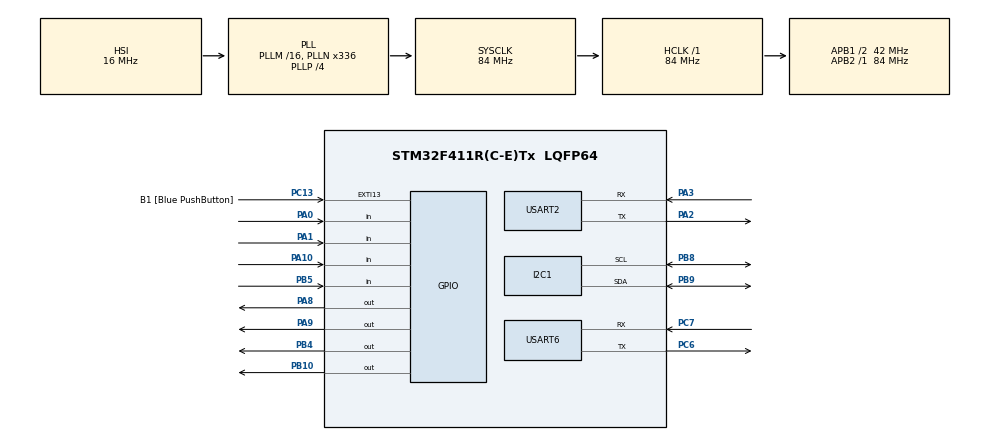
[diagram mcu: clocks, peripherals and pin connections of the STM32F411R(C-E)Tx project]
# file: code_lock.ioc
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Mcu.Family=STM32F4
Mcu.Name=STM32F411R(C-E)Tx
Mcu.Package=LQFP64
NVIC.PriorityGroup=NVIC_PRIORITYGROUP_0
NVIC.TIM2_IRQn=true\:0\:0\:false\:false\:true\:true\:true\:true
NVIC.TIM3_IRQn=true\:0\:0\:false\:false\:true\:true\:true\:true
PA0-WKUP.GPIO_PuPd=GPIO_PULLDOWN
PA0-WKUP.Signal=GPIO_Input
PA1.GPIO_PuPd=GPIO_PULLDOWN
PA1.Signal=GPIO_Input
PA10.GPIO_PuPd=GPIO_PULLDOWN
PA10.Signal=GPIO_Input
PA13.GPIO_Label=TMS
PA13.Mode=Serial_Wire
PA13.Signal=SYS_JTMS-SWDIO
PA14.GPIO_Label=TCK
PA14.Mode=Serial_Wire
PA14.Signal=SYS_JTCK-SWCLK
PA2.Mode=Asynchronous
PA2.Signal=USART2_TX
PA3.Mode=Asynchronous
PA3.Signal=USART2_RX
PA8.Signal=GPIO_Output
PA9.Signal=GPIO_Output
PB10.Signal=GPIO_Output
PB3.GPIO_Label=SWO
PB3.Signal=SYS_JTDO-SWO
PB4.Signal=GPIO_Output
PB5.GPIO_PuPd=GPIO_PULLDOWN
PB5.Signal=GPIO_Input
PB8.Mode=I2C
PB8.Signal=I2C1_SCL
PB9.Mode=I2C
PB9.Signal=I2C1_SDA
PC13-ANTI_TAMP.GPIO_Label=B1 [Blue PushButton]
PC13-ANTI_TAMP.GPIO_ModeDefaultEXTI=GPIO_MODE_IT_FALLING
PC13-ANTI_TAMP.Signal=GPXTI13
PC14-OSC32_IN.Mode=LSE-External-Oscillator
PC14-OSC32_IN.Signal=RCC_OSC32_IN
PC15-OSC32_OUT.Mode=LSE-External-Oscillator
PC15-OSC32_OUT.Signal=RCC_OSC32_OUT
PC6.Mode=Asynchronous
PC6.Signal=USART6_TX
PC7.Mode=Asynchronous
PC7.Signal=USART6_RX
PH0\ -\ OSC_IN.Mode=HSE-External-Clock-Source
PH0\ -\ OSC_IN.Signal=RCC_OSC_IN
PH1\ -\ OSC_OUT.Mode=HSE-External-Clock-Source
PH1\ -\ OSC_OUT.Signal=RCC_OSC_OUT
ProjectManager.HeapSize=0x200
ProjectManager.StackSize=0x400
ProjectManager.TargetToolchain=STM32CubeIDE
RCC.48MHZClocksFreq_Value=84000000
RCC.AHBFreq_Value=84000000
RCC.APB1CLKDivider=RCC_HCLK_DIV2
RCC.APB1Freq_Value=42000000
RCC.APB1TimFreq_Value=84000000
RCC.APB2Freq_Value=84000000
RCC.APB2TimFreq_Value=84000000
RCC.CortexFreq_Value=84000000
RCC.FLatency-AdvancedSettings=FLASH_LATENCY_2
RCC.HCLKFreq_Value=84000000
RCC.HSE_VALUE=8000000
RCC.HSI_VALUE=16000000
RCC.PLLN=336
RCC.PLLP=RCC_PLLP_DIV4
RCC.SYSCLKFreq_VALUE=84000000
RCC.SYSCLKSource=RCC_SYSCLKSOURCE_PLLCLK
RCC.VCOOutputFreq_Value=336000000
TIM2.Period=1000
TIM2.Prescaler=1
TIM3.Period=10000
TIM3.Prescaler=16
USART2.VirtualMode=VM_ASYNC
USART6.VirtualMode=VM_ASYNC
VP_TIM2_VS_ClockSourceINT.Mode=Internal
VP_TIM3_VS_ClockSourceINT.Mode=Internal
board=NUCLEO-F411RE

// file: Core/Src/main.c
/* USER CODE BEGIN Header */
/**
  ******************************************************************************
  * @file           : main.c
  * @brief          : Main program body
  ******************************************************************************
  * @attention
  *
  * Copyright (c) 2023 STMicroelectronics.
  * All rights reserved.
  *
  * This software is licensed under terms that can be found in the LICENSE file
  * in the root directory of this software component.
  * If no LICENSE file comes with this software, it is provided AS-IS.
  *
  ******************************************************************************
  */
/* USER CODE END Header */
#include "main.h"

/* USER CODE BEGIN Includes */
#include "matrix_keyboard.h"
#include "stdbool.h"
#include "string.h"
/* USER CODE END Includes */

I2C_HandleTypeDef hi2c1;

TIM_HandleTypeDef htim2;
TIM_HandleTypeDef htim3;

UART_HandleTypeDef huart2;
UART_HandleTypeDef huart6;

/* USER CODE BEGIN PV */

uint8_t *input_command;
uint8_t command_index=0;

uint8_t password_size=0;
uint8_t input_size=0;
uint8_t input_index=0;

bool keyboard_state=INPUT_STATE;
bool password_status=PASSWORD_UNSET;
bool access_status=ACCESS_DENIED;

char password[16];
char password_input[16];

char command;

char commands[16]={'0','1','2','3','4','5','6','7','8','9','A','B','C',' '};

char* welcome_message[14]={"New password:"};
char* input_message[16]={"Enter password:"};
/* USER CODE END PV */

void SystemClock_Config(void);
static void MX_GPIO_Init(void);
static void MX_I2C1_Init(void);
static void MX_TIM2_Init(void);
static void MX_TIM3_Init(void);
static void MX_USART6_UART_Init(void);
static void MX_USART2_UART_Init(void);

/* USER CODE BEGIN 0 */
uint8_t out_pin_on=0;
/* Input handler in callback  */
void HAL_TIM_PeriodElapsedCallback(TIM_HandleTypeDef *htim)
{
        if(htim->Instance == TIM2)
        {
        	if(keyboard_state==INPUT_STATE){
				out_pin_change(out_pin_on);
				input_command=input_scan();
				for(uint8_t column=0;column<=3;column++){
					if ((input_command[column]==1)){
						command_index=((out_pin_on+1)*4-(column+1));
						keyboard_state=OUTPUT_STATE;
						}
				}
        	out_pin_on=(out_pin_on+1)%4;
        	}
        }
}
void DeleteKeyHandler(char* str){
	password[input_index-1]='\0'; input_index-=1;

	LCD_ClearDisplay();
	LCD_WriteString(str, 1, 0);

	keyboard_state=INPUT_STATE;

	HAL_Delay(100);
}
void EnterKeyHandler(char* str){
	password_size=input_index; input_index=0;
	if (password_status=PASSWORD_UNSET){
		password_status=PASSWORD_SET;
	}

	LCD_ClearDisplay();

	keyboard_state=INPUT_STATE;

	HAL_Delay(100);
}
/* USER CODE END 0 */

int main(void)
{

  /* MCU Configuration--------------------------------------------------------*/

  /* Reset of all peripherals, Initializes the Flash interface and the Systick. */
  HAL_Init();

  /* Configure the system clock */
  SystemClock_Config();

  /* Initialize all configured peripherals */
  MX_GPIO_Init();
  MX_I2C1_Init();
  MX_TIM2_Init();
  MX_TIM3_Init();
  MX_USART6_UART_Init();
  MX_USART2_UART_Init();
  /* USER CODE BEGIN 2 */
  LCD_Init();
  HAL_TIM_Base_Start_IT(&htim2);
  /* USER CODE END 2 */

  /* Infinite loop */
  /* USER CODE BEGIN WHILE */
  while (1)
  {
		switch (access_status) {
		/* No access */
			case 0:
				if(password_status==PASSWORD_SET){
					LCD_WriteString("WELCOME", 0, 0);
					HAL_Delay(1000);
					access_status=ACCESS_GRANTED;
				}
				else{

					LCD_WriteString(welcome_message[0], 0, 0);

					if(keyboard_state==OUTPUT_STATE){
						if(command_index==ENTER_COMMAND){
							EnterKeyHandler(password);
							break;
							}
						 if(command_index==DELETE_COMMAND){
							DeleteKeyHandler(password);
							break;
							}
						command=commands[command_index]; password[input_index]=command;
						input_index++;

						LCD_WriteString(password, 1, 0);

						keyboard_state=INPUT_STATE;
				}
				}
				break;
			/* Access granted */
			case 1:
				if(keyboard_state==OUTPUT_STATE){
					input_index=(input_index+1)%2;
					LCD_ClearDisplay();

					LCD_WriteString("#", input_index, 0);
					LCD_WriteString("Change password", input_index, 1);
					if(command_index==ENTER_COMMAND){
						EnterKeyHandler(password);
						break;
					}
					keyboard_state=INPUT_STATE;

				}
				break;
		}
	 }
    /* USER CODE END WHILE */

  }

void SystemClock_Config(void)
{
  RCC_OscInitTypeDef RCC_OscInitStruct = {0};
  RCC_ClkInitTypeDef RCC_ClkInitStruct = {0};

  /** Configure the main internal regulator output voltage
  */
  __HAL_RCC_PWR_CLK_ENABLE();
  __HAL_PWR_VOLTAGESCALING_CONFIG(PWR_REGULATOR_VOLTAGE_SCALE1);

  /** Initializes the RCC Oscillators according to the specified parameters
  * in the RCC_OscInitTypeDef structure.
  */
  RCC_OscInitStruct.OscillatorType = RCC_OSCILLATORTYPE_HSI;
  RCC_OscInitStruct.HSIState = RCC_HSI_ON;
  RCC_OscInitStruct.HSICalibrationValue = RCC_HSICALIBRATION_DEFAULT;
  RCC_OscInitStruct.PLL.PLLState = RCC_PLL_ON;
  RCC_OscInitStruct.PLL.PLLSource = RCC_PLLSOURCE_HSI;
  RCC_OscInitStruct.PLL.PLLM = 16;
  RCC_OscInitStruct.PLL.PLLN = 336;
  RCC_OscInitStruct.PLL.PLLP = RCC_PLLP_DIV4;
  RCC_OscInitStruct.PLL.PLLQ = 4;
  if (HAL_RCC_OscConfig(&RCC_OscInitStruct) != HAL_OK)
  {
    Error_Handler();
  }

  /** Initializes the CPU, AHB and APB buses clocks
  */
  RCC_ClkInitStruct.ClockType = RCC_CLOCKTYPE_HCLK|RCC_CLOCKTYPE_SYSCLK
                              |RCC_CLOCKTYPE_PCLK1|RCC_CLOCKTYPE_PCLK2;
  RCC_ClkInitStruct.SYSCLKSource = RCC_SYSCLKSOURCE_PLLCLK;
  RCC_ClkInitStruct.AHBCLKDivider = RCC_SYSCLK_DIV1;
  RCC_ClkInitStruct.APB1CLKDivider = RCC_HCLK_DIV2;
  RCC_ClkInitStruct.APB2CLKDivider = RCC_HCLK_DIV1;

  if (HAL_RCC_ClockConfig(&RCC_ClkInitStruct, FLASH_LATENCY_2) != HAL_OK)
  {
    Error_Handler();
  }
}

static void MX_I2C1_Init(void)
{

  hi2c1.Instance = I2C1;
  hi2c1.Init.ClockSpeed = 100000;
  hi2c1.Init.DutyCycle = I2C_DUTYCYCLE_2;
  hi2c1.Init.OwnAddress1 = 0;
  hi2c1.Init.AddressingMode = I2C_ADDRESSINGMODE_7BIT;
  hi2c1.Init.DualAddressMode = I2C_DUALADDRESS_DISABLE;
  hi2c1.Init.OwnAddress2 = 0;
  hi2c1.Init.GeneralCallMode = I2C_GENERALCALL_DISABLE;
  hi2c1.Init.NoStretchMode = I2C_NOSTRETCH_DISABLE;
  if (HAL_I2C_Init(&hi2c1) != HAL_OK)
  {
    Error_Handler();
  }

}

static void MX_TIM2_Init(void)
{

  TIM_ClockConfigTypeDef sClockSourceConfig = {0};
  TIM_MasterConfigTypeDef sMasterConfig = {0};

  htim2.Instance = TIM2;
  htim2.Init.Prescaler = 16;
  htim2.Init.CounterMode = TIM_COUNTERMODE_UP;
  htim2.Init.Period = 20000;
  htim2.Init.ClockDivision = TIM_CLOCKDIVISION_DIV1;
  htim2.Init.AutoReloadPreload = TIM_AUTORELOAD_PRELOAD_DISABLE;
  if (HAL_TIM_Base_Init(&htim2) != HAL_OK)
  {
    Error_Handler();
  }
  sClockSourceConfig.ClockSource = TIM_CLOCKSOURCE_INTERNAL;
  if (HAL_TIM_ConfigClockSource(&htim2, &sClockSourceConfig) != HAL_OK)
  {
    Error_Handler();
  }
  sMasterConfig.MasterOutputTrigger = TIM_TRGO_RESET;
  sMasterConfig.MasterSlaveMode = TIM_MASTERSLAVEMODE_DISABLE;
  if (HAL_TIMEx_MasterConfigSynchronization(&htim2, &sMasterConfig) != HAL_OK)
  {
    Error_Handler();
  }

}

static void MX_TIM3_Init(void)
{

  TIM_ClockConfigTypeDef sClockSourceConfig = {0};
  TIM_MasterConfigTypeDef sMasterConfig = {0};

  htim3.Instance = TIM3;
  htim3.Init.Prescaler = 16;
  htim3.Init.CounterMode = TIM_COUNTERMODE_UP;
  htim3.Init.Period = 10000;
  htim3.Init.ClockDivision = TIM_CLOCKDIVISION_DIV1;
  htim3.Init.AutoReloadPreload = TIM_AUTORELOAD_PRELOAD_DISABLE;
  if (HAL_TIM_Base_Init(&htim3) != HAL_OK)
  {
    Error_Handler();
  }
  sClockSourceConfig.ClockSource = TIM_CLOCKSOURCE_INTERNAL;
  if (HAL_TIM_ConfigClockSource(&htim3, &sClockSourceConfig) != HAL_OK)
  {
    Error_Handler();
  }
  sMasterConfig.MasterOutputTrigger = TIM_TRGO_RESET;
  sMasterConfig.MasterSlaveMode = TIM_MASTERSLAVEMODE_DISABLE;
  if (HAL_TIMEx_MasterConfigSynchronization(&htim3, &sMasterConfig) != HAL_OK)
  {
    Error_Handler();
  }

}

static void MX_USART2_UART_Init(void)
{

  huart2.Instance = USART2;
  huart2.Init.BaudRate = 115200;
  huart2.Init.WordLength = UART_WORDLENGTH_8B;
  huart2.Init.StopBits = UART_STOPBITS_1;
  huart2.Init.Parity = UART_PARITY_NONE;
  huart2.Init.Mode = UART_MODE_TX_RX;
  huart2.Init.HwFlowCtl = UART_HWCONTROL_NONE;
  huart2.Init.OverSampling = UART_OVERSAMPLING_16;
  if (HAL_UART_Init(&huart2) != HAL_OK)
  {
    Error_Handler();
  }

}

static void MX_USART6_UART_Init(void)
{

  huart6.Instance = USART6;
  huart6.Init.BaudRate = 115200;
  huart6.Init.WordLength = UART_WORDLENGTH_8B;
  huart6.Init.StopBits = UART_STOPBITS_1;
  huart6.Init.Parity = UART_PARITY_NONE;
  huart6.Init.Mode = UART_MODE_TX_RX;
  huart6.Init.HwFlowCtl = UART_HWCONTROL_NONE;
  huart6.Init.OverSampling = UART_OVERSAMPLING_16;
  if (HAL_UART_Init(&huart6) != HAL_OK)
  {
    Error_Handler();
  }

}

static void MX_GPIO_Init(void)
{
  GPIO_InitTypeDef GPIO_InitStruct = {0};

  /* GPIO Ports Clock Enable */
  __HAL_RCC_GPIOC_CLK_ENABLE();
  __HAL_RCC_GPIOH_CLK_ENABLE();
  __HAL_RCC_GPIOA_CLK_ENABLE();
  __HAL_RCC_GPIOB_CLK_ENABLE();

  /*Configure GPIO pin Output Level */
  HAL_GPIO_WritePin(GPIOB, GPIO_PIN_10|GPIO_PIN_4, GPIO_PIN_RESET);

  /*Configure GPIO pin Output Level */
  HAL_GPIO_WritePin(GPIOA, GPIO_PIN_8|GPIO_PIN_9, GPIO_PIN_RESET);

  /*Configure GPIO pin : B1_Pin */
  GPIO_InitStruct.Pin = B1_Pin;
  GPIO_InitStruct.Mode = GPIO_MODE_IT_FALLING;
  GPIO_InitStruct.Pull = GPIO_NOPULL;
  HAL_GPIO_Init(B1_GPIO_Port, &GPIO_InitStruct);

  /*Configure GPIO pins : PA0 PA1 PA10 */
  GPIO_InitStruct.Pin = GPIO_PIN_0|GPIO_PIN_1|GPIO_PIN_10;
  GPIO_InitStruct.Mode = GPIO_MODE_INPUT;
  GPIO_InitStruct.Pull = GPIO_PULLDOWN;
  HAL_GPIO_Init(GPIOA, &GPIO_InitStruct);

  /*Configure GPIO pins : PB10 PB4 */
  GPIO_InitStruct.Pin = GPIO_PIN_10|GPIO_PIN_4;
  GPIO_InitStruct.Mode = GPIO_MODE_OUTPUT_PP;
  GPIO_InitStruct.Pull = GPIO_NOPULL;
  GPIO_InitStruct.Speed = GPIO_SPEED_FREQ_LOW;
  HAL_GPIO_Init(GPIOB, &GPIO_InitStruct);

  /*Configure GPIO pins : PA8 PA9 */
  GPIO_InitStruct.Pin = GPIO_PIN_8|GPIO_PIN_9;
  GPIO_InitStruct.Mode = GPIO_MODE_OUTPUT_PP;
  GPIO_InitStruct.Pull = GPIO_NOPULL;
  GPIO_InitStruct.Speed = GPIO_SPEED_FREQ_LOW;
  HAL_GPIO_Init(GPIOA, &GPIO_InitStruct);

  /*Configure GPIO pin : PB5 */
  GPIO_InitStruct.Pin = GPIO_PIN_5;
  GPIO_InitStruct.Mode = GPIO_MODE_INPUT;
  GPIO_InitStruct.Pull = GPIO_PULLDOWN;
  HAL_GPIO_Init(GPIOB, &GPIO_InitStruct);

}

void Error_Handler(void)
{
  __disable_irq();
  while (1)
  {
  }
}
